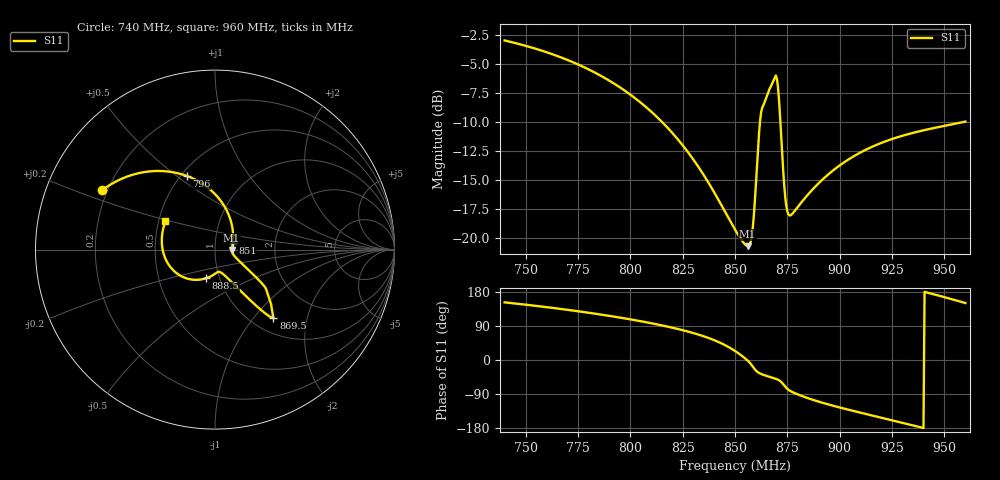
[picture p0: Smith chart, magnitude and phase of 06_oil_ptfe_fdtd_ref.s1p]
! ISAC_868 Rev E.5 3D-FDTD Reference S11 at /BR_Q (6_PTFE_Oil_on_0p80mm_Window (eps*=2.1-j0.0002))
! Reference plane: /BR_Q (includes C_M1=3.6p, L_M1=8.2n||C_MZ=0.5p, C_M2=4.3p elliptic Pi-filter)
! Unloaded AE1 f0 = 849.0 MHz | Standalone |S11(866.5)| = -7.04 dB | Cascaded |S11(866.5)| = -7.14 dB
# GHz S RI R 50.0
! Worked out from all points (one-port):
!   442 points, 740 MHz to 960 MHz, reference 50 ohm
!   lowest |S11| = -20.7 dB at 856 MHz (marker M1), VSWR 1.20, Z = 60.2 - j0.257 ohm
!   |S11| at or under -10 dB: 815.2 MHz to 861.9 MHz (46.73 MHz wide, 5.57 % of centre); 871.7 MHz to 958.9 MHz (87.24 MHz wide, 9.53 % of centre)
!   S11 on the Smith chart (normalised r, x): 740 MHz: 0.18, +0.24; 796 MHz: 0.53, +0.54; 851 MHz: 1.22, +0.09; 869.5 MHz: 1.25, -1.27; 888.5 MHz: 0.86, -0.28; 960 MHz: 0.54, +0.19
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0.74  -0.627 0.3321
0.7675  -0.4169 0.4277
0.7815  -0.2905 0.4374
0.795  -0.167 0.4139
0.796  -0.1581 0.4107
0.8225  0.0367 0.2653
0.835  0.0861 0.1667
0.85  0.0997 0.0442
0.851  0.0988 0.0363
0.856  0.0925 -0.00212
0.8575  0.0954 -0.0169
0.8585  0.1063 -0.0332
0.8615  0.235 -0.1604
0.8631  0.2877 -0.2272
0.8685  0.3208 -0.355
0.8695  0.3257 -0.3816
0.8705  0.2768 -0.3532
0.871  0.2351 -0.3178
0.8735  0.0662 -0.1552
0.8745  0.0392 -0.1318
0.8755  0.0253 -0.1242
0.8775  0.0114 -0.1273
0.8885  -0.0501 -0.1598
0.905  -0.1486 -0.1631
0.9185  -0.2211 -0.1257
0.9325  -0.2753 -0.0529
0.9465  -0.2964 0.0468
0.96  -0.2759 0.1575
